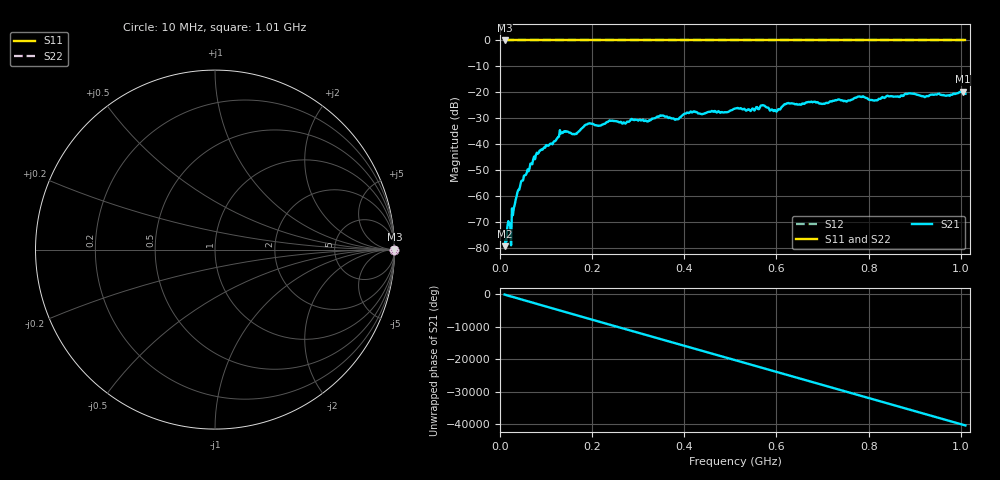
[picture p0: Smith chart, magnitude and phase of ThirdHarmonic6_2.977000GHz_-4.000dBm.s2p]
! 8/17/2025 8:26:39 AM
! C:\ANRITSUVNA\TEMP\TEMP.S2P
! CHANNEL.1
! TR.MEASUREMENT
! RAW.DATA
! RF.CORRECTION.OFF
! AVERAGING.OFF
! IF.BANDWIDTH: 5KHZ
! SWEEPTYPE:  FREQ.SWEEP(Linear)
! Reference Plane Port Info
! PORT:  PORT1  PORT2
! DISTANCE:  0  m  0  m
! TIME:  0  s  0  s
! PHASE.OFFSET:  0  deg.  0  deg.
! LOSS:  0  dB  0  dB
! REF.LOSS:  0  dB  0  dB
! REF.FREQ:  0  Hz  0  Hz
! Power Info
! POWER:  -20  dBm  -20  dBm
! EFF.POWER:  -20  dBm  -20  dBm
! SOURCE.ATTEN:  0  dB  0  dB
! TEST.ATTEN:  0  dB  0  dB
# GHZ S RI R 50.0
! FREQ.GHZ  S11RE  S11IM  S21RE  S21IM  S12RE  S12IM  S22RE  S22IM
!; PortSelection: Port_12
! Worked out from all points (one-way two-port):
!   501 points, 10 MHz to 1.01 GHz, reference 50 ohm
!   highest |S21| = -19.82 dB at 1.004 GHz (marker M1); lowest = -79.4 dB at 10 MHz (marker M2)
!   lowest |S11| = 0.0 dB at 10 MHz (marker M3)
!   |S11| at or under -10 dB: nowhere
!   |S22| runs from 0.0 to 0.0 dB; largest |S21 - S12| = 1.1
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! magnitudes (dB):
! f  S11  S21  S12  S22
! 10 MHz  0.0  -79.4  0.0  0.0
! 18 MHz  0.0  -69.7  0.0  0.0
! 26 MHz  0.0  -64.8  0.0  0.0
! 30 MHz  0.0  -64.7  0.0  0.0
! 42 MHz  0.0  -57.5  0.0  0.0
! 76 MHz  0.0  -45.8  0.0  0.0
! 134 MHz  0.0  -35.6  0.0  0.0
! 162 MHz  0.0  -36.2  0.0  0.0
! 178 MHz  0.0  -33.8  0.0  0.0
! 194 MHz  0.0  -32.0  0.0  0.0
! 322 MHz  0.0  -31.2  0.0  0.0
! 344 MHz  0.0  -29.5  0.0  0.0
! 384 MHz  0.0  -30.3  0.0  0.0
! 410 MHz  0.0  -28.0  0.0  0.0
! 510 MHz  0.0  -26.2  0.0  0.0
! 570 MHz  0.0  -25.0  0.0  0.0
! 598 MHz  0.0  -26.9  0.0  0.0
! 622 MHz  0.0  -24.3  0.0  0.0
! 678 MHz  0.0  -23.8  0.0  0.0
! 844 MHz  0.0  -21.6  0.0  0.0
! 1.004 GHz  0.0  -19.8  0.0  0.0
! 1.01 GHz  0.0  -20.6  0.0  0.0
